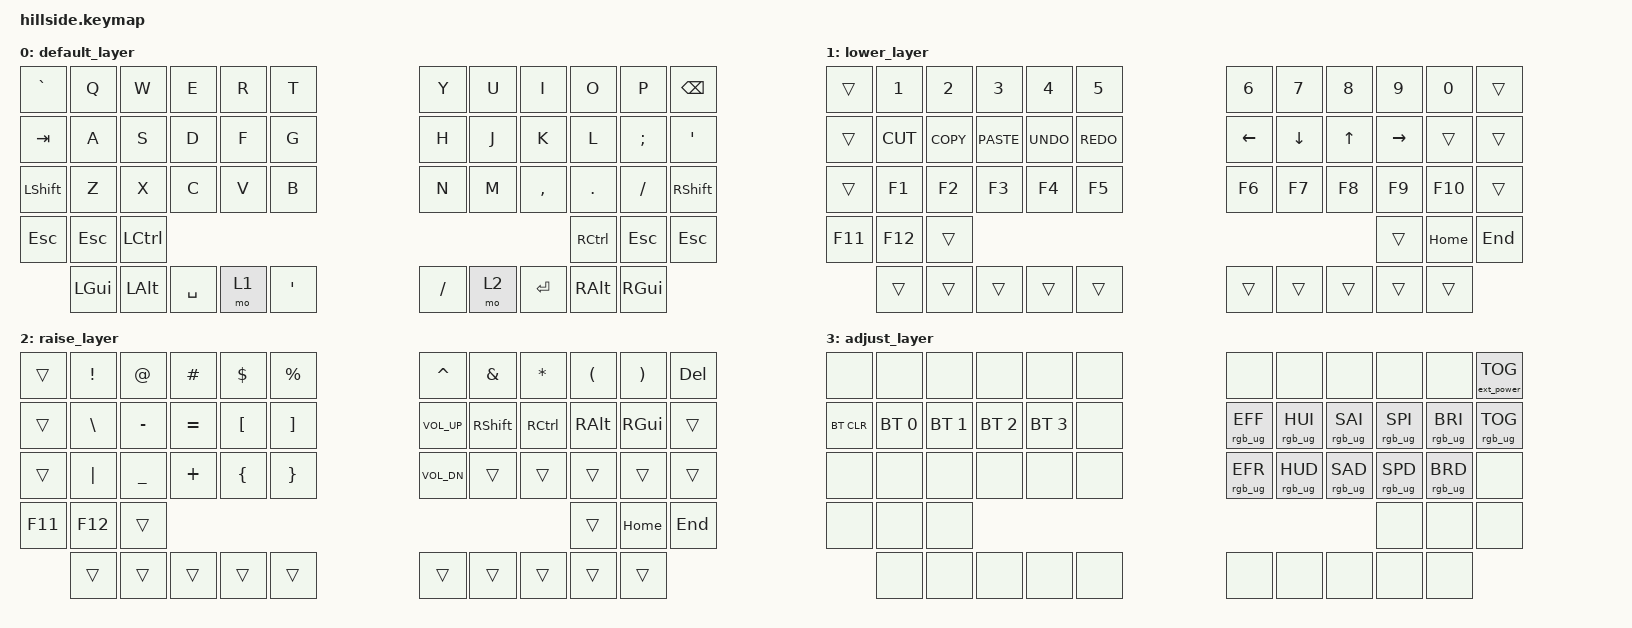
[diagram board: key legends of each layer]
/*
 * Copyright (c) 2020 The ZMK Contributors
 *
 * SPDX-License-Identifier: MIT
 */

#include <behaviors.dtsi>
#include <dt-bindings/zmk/keys.h>
#include <dt-bindings/zmk/bt.h>
#include <dt-bindings/zmk/rgb.h>
#include <dt-bindings/zmk/ext_power.h>

/ {     

        conditional_layers {
            compatible = "zmk,conditional-layers";
            adjust_layer {
                if-layers = <1 2>;
                then-layer = <3>;
            };
        };

        keymap {
            compatible = "zmk,keymap";

            default_layer {
                bindings = <
                    &kp GRAVE  &kp Q  &kp W  &kp E  &kp R  &kp T      &kp Y  &kp U  &kp I  &kp O  &kp P  &kp BSPC
                    &kp TAB  &kp A  &kp S  &kp D  &kp F  &kp G        &kp H  &kp J  &kp K  &kp L  &kp SEMI  &kp APOS
                    &kp LSHFT &kp Z  &kp X  &kp C  &kp V  &kp B       &kp N  &kp M  &kp COMMA  &kp DOT  &kp FSLH  &kp RSHFT
                    &kp ESC  &kp ESC  &kp LCTRL                                               &kp RCTRL  &kp ESC  &kp ESC
                    &kp LGUI  &kp LALT  &kp SPACE   &mo 1  &kp APOS   &kp FSLH  &mo 2   &kp ENTER   &kp RALT  &kp RGUI
                >;
            };

            lower_layer {
                bindings = <
                    &trans  &kp N1  &kp N2  &kp N3  &kp N4  &kp N5                            &kp N6  &kp N7  &kp N8  &kp N9  &kp N0  &trans
                    &trans  &kp K_CUT  &kp K_COPY  &kp K_PASTE  &kp K_UNDO  &kp K_REDO        &kp LEFT  &kp DOWN  &kp UP  &kp RIGHT  &trans  &trans
                    &trans  &kp F1  &kp F2  &kp F3  &kp F4  &kp F5                            &kp F6  &kp F7  &kp F8  &kp F9  &kp F10 &trans
                    &kp F11  &kp F12 &trans                                                                           &trans  &kp HOME  &kp END
                            &trans  &trans  &trans  &trans  &trans                            &trans  &trans  &trans  &trans  &trans
                >;
            };

            raise_layer {
                bindings = <
                    &trans  &kp EXCL  &kp AT  &kp HASH  &kp DOLLAR  &kp PERCENT               &kp CARET    &kp AMPERSAND  &kp STAR  &kp LPAR  &kp RPAR  &kp DELETE
                    &trans  &kp BACKSLASH  &kp MINUS  &kp EQUAL  &kp LBKT  &kp RBKT           &kp K_VOL_UP  &kp RSHFT  &kp RCTRL  &kp RALT  &kp RGUI  &trans
                    &trans  &kp PIPE  &kp UNDER  &kp PLUS  &kp LBRC  &kp RBRC                 &kp K_VOL_DN  &trans     &trans     &trans    &trans    &trans
                    &kp F11  &kp F12 &trans                                                                                       &trans    &kp HOME  &kp END
                                     &trans  &trans  &trans  &trans   &trans                    &trans        &trans     &trans     &trans    &trans
                >;
            };

            adjust_layer {
                bindings = <
                    &none       &none        &none        &none        &none         &none         &none              &none              &none               &none             &none                    &ext_power EP_TOG
                    &bt BT_CLR  &bt BT_SEL 0 &bt BT_SEL 1 &bt BT_SEL 2 &bt BT_SEL 3  &none         &rgb_ug RGB_EFF    &rgb_ug RGB_HUI    &rgb_ug RGB_SAI     &rgb_ug RGB_SPI   &rgb_ug RGB_BRI          &rgb_ug RGB_TOG
                    &none       &none        &none        &none        &none         &none         &rgb_ug RGB_EFR    &rgb_ug RGB_HUD    &rgb_ug RGB_SAD     &rgb_ug RGB_SPD   &rgb_ug RGB_BRD          &none
                    &none       &none        &none                                                                                                           &none             &none                    &none
                                &none        &none        &none        &none         &none         &none              &none              &none               &none             &none
                >;
            };
        };
};
